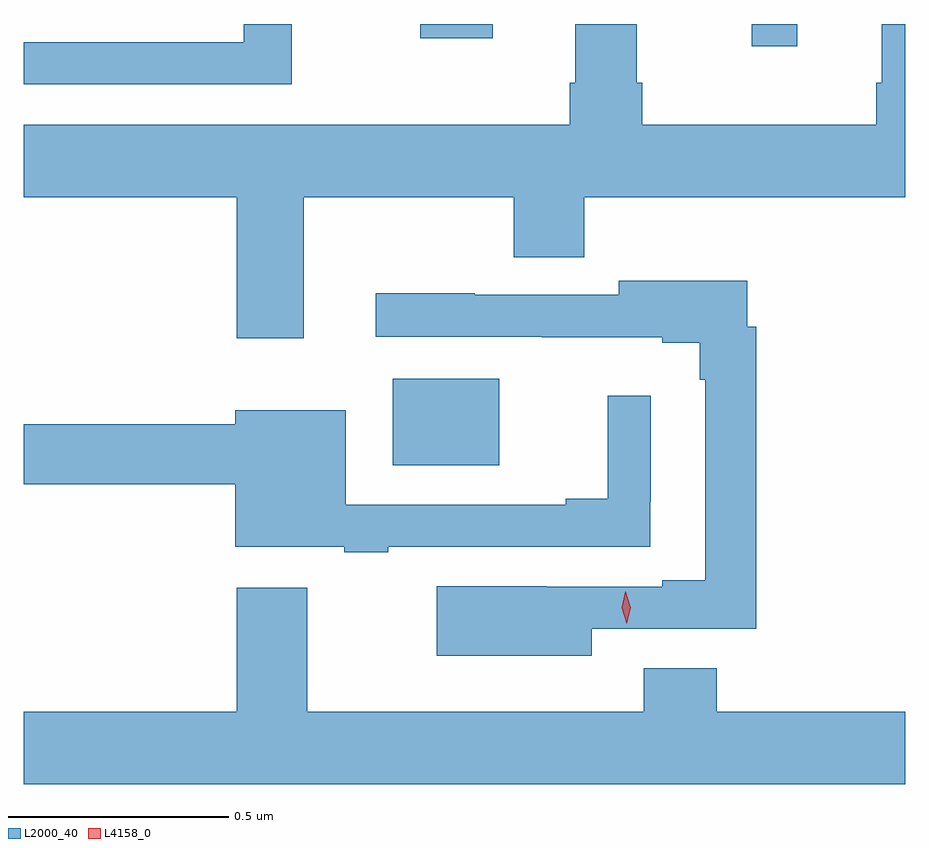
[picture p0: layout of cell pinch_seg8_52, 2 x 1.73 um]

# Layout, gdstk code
import gdstk
lib = gdstk.Library(unit=1e-6, precision=1e-09)
def R(c, l, rs):  # rectangles x0, y0, x1, y1
    for r in rs: c.add(gdstk.rectangle(r[:2], r[2:], *l))
def P(c, l, *ps):  # polygons
    for p in ps: c.add(gdstk.Polygon(p, *l))
L2000_40 = (2000, 40)
L4158_0 = (4158, 0)

pinch_seg8_52 = lib.new_cell('pinch_seg8_52')
R(pinch_seg8_52, L2000_40, [(869.237,1143.863,869.479,1144.06), (870.052,1144.815,870.155,1144.865), (869.299,1144.833,869.464,1144.865)])
P(pinch_seg8_52, L2000_40, [(869.035,1144.472),(869.512,1144.472),(869.512,1144.336),(869.672,1144.336),(869.672,1144.472),(870.4,1144.472),(870.4,1144.865),(870.347,1144.865),(870.347,1144.732),(870.335,1144.732),(870.335,1144.636),(869.804,1144.636),(869.804,1144.732),(869.791,1144.732),(869.791,1144.865),(869.651,1144.865),(869.651,1144.732),(869.639,1144.732),(869.639,1144.636),(868.4,1144.636),(868.4,1144.472),(868.883,1144.472),(868.883,1144.152),(869.035,1144.152)],
  [(869.008,1144.865),(868.899,1144.865),(868.899,1144.824),(868.4,1144.824),(868.4,1144.728),(869.008,1144.728)],
  [(869.689,1143.492),(870.062,1143.492),(870.062,1144.178),(870.042,1144.178),(870.042,1144.282),(869.75,1144.282),(869.75,1144.251),(869.423,1144.251),(869.423,1144.254),(869.199,1144.254),(869.199,1144.155),(869.575,1144.155),(869.575,1144.154),(869.849,1144.154),(869.849,1144.142),(869.934,1144.142),(869.934,1144.058),(869.946,1144.058),(869.946,1143.602),(869.849,1143.602),(869.849,1143.588),(869.585,1143.588),(869.585,1143.589),(869.337,1143.589),(869.337,1143.431),(869.689,1143.431)],
  [(869.227,1143.678),(869.72,1143.678),(869.72,1143.679),(869.822,1143.679),(869.822,1143.781),(869.823,1143.781),(869.823,1144.021),(869.725,1144.021),(869.725,1143.787),(869.63,1143.787),(869.63,1143.774),(869.131,1143.774),(869.131,1143.988),(868.88,1143.988),(868.88,1143.956),(868.4,1143.956),(868.4,1143.82),(868.88,1143.82),(868.88,1143.678),(869.127,1143.678),(869.127,1143.666),(869.227,1143.666)],
  [(870.4,1143.304),(869.972,1143.304),(869.972,1143.403),(869.807,1143.403),(869.807,1143.304),(869.043,1143.304),(869.043,1143.586),(868.883,1143.586),(868.883,1143.304),(868.4,1143.304),(868.4,1143.14),(870.4,1143.14)])
P(pinch_seg8_52, L4158_0, [(869.768,1143.504),(869.768,1143.504),(869.757,1143.54),(869.765,1143.576),(869.766,1143.576),(869.766,1143.576),(869.777,1143.54),(869.768,1143.504)])

lib.write_gds('pinch_seg8_52.gds')
